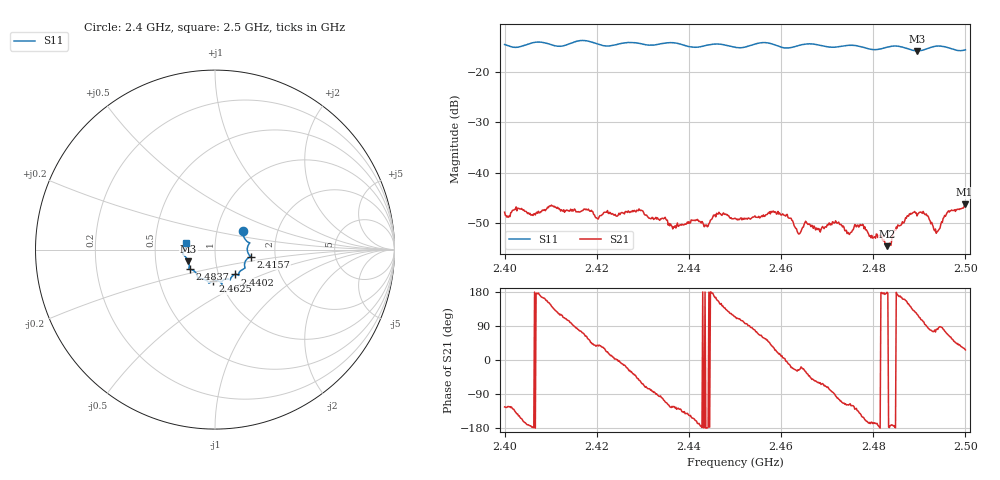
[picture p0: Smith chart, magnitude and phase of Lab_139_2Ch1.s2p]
# Hz S RI R 50
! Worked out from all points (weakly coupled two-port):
!   601 points, 2.4 GHz to 2.5 GHz, reference 50 ohm
!   highest |S21| = -46.24 dB at 2.4998 GHz (marker M1); lowest = -54.5 dB at 2.483 GHz (marker M2)
!   lowest |S11| = -15.8 dB at 2.4895 GHz (marker M3), VSWR 1.39, Z = 36.8 - j4.99 ohm
!   |S11| at or under -10 dB: start of sweep to end of sweep
!   S12 and S22 are empty: the file has one direction only
!   S11 on the Smith chart (normalised r, x): 2.4 GHz: 1.33, +0.29; 2.4157 GHz: 1.49, -0.12; 2.4402 GHz: 1.20, -0.34; 2.4625 GHz: 0.92, -0.33; 2.4837 GHz: 0.74, -0.17; 2.5 GHz: 0.72, +0.06
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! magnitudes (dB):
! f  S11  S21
! 2.4 GHz  -14.5  -47.8
! 2.4157 GHz  -13.9  -47.7
! 2.4167 GHz  -13.8  -47.6
! 2.4333 GHz  -14.5  -49.2
! 2.4402 GHz  -15.0  -50.0
! 2.45 GHz  -15.1  -49.0
! 2.4583 GHz  -14.5  -47.6
! 2.4625 GHz  -15.1  -49.5
! 2.4638 GHz  -14.7  -52.1
! 2.4667 GHz  -14.4  -50.4
! 2.4722 GHz  -15.0  -50.0
! 2.4748 GHz  -14.7  -52.2
! 2.4777 GHz  -15.1  -50.2
! 2.483 GHz  -15.1  -54.5
! 2.4833 GHz  -15.0  -54.4
! 2.4837 GHz  -14.9  -54.1
! 2.485 GHz  -14.9  -50.7
! 2.4895 GHz  -15.8  -48.5
! 2.4938 GHz  -14.9  -51.7
! 2.4963 GHz  -15.2  -47.5
! 2.4998 GHz  -15.6  -46.2
! 2.5 GHz  -15.6  -46.4
